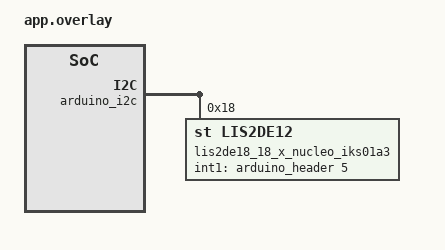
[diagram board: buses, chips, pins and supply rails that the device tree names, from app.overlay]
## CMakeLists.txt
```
# Copyright (c) 2019 STMicroelectronics
#
# SPDX-License-Identifier: Apache-2.0
#
cmake_minimum_required(VERSION 3.28.0)

# This sample is specific to x_nucleo_iks01a3 shield. Enforce -DSHIELD option
set(SHIELD x_nucleo_iks01a3)

find_package(Zephyr REQUIRED HINTS $ENV{ZEPHYR_BASE})
project(x_nucleo_iks01a3)

FILE(GLOB app_sources src/*.c)
target_sources(app PRIVATE ${app_sources})
```

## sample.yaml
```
sample:
  name: X-NUCLEO-IKS01A3 sensor shield
common:
  min_ram: 16
tests:
  sample.shields.x_nucleo_iks01a3.standard:
    harness: shield
    tags: shield
    depends_on:
      - arduino_i2c
      - arduino_gpio
    platform_exclude:
      - disco_l475_iot1
      - lpcxpresso55s16
      - pan1781_evb
      - pan1782_evb
      - mimxrt1010_evk
```

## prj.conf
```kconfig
# SPDX-FileCopyrightText: Copyright The Zephyr Project Contributors
# SPDX-License-Identifier: Apache-2.0

CONFIG_LOG=y
CONFIG_STDOUT_CONSOLE=y
CONFIG_I2C=y
CONFIG_SENSOR=y
CONFIG_HTS221_TRIGGER_NONE=y
CONFIG_LPS22HH_TRIGGER_OWN_THREAD=y
CONFIG_STTS751_TRIGGER_NONE=y
CONFIG_LIS2MDL_TRIGGER_NONE=y
CONFIG_LIS2DW12_TRIGGER_OWN_THREAD=y
CONFIG_LSM6DSO_ENABLE_TEMP=n
CONFIG_LSM6DSO_TRIGGER_OWN_THREAD=y
CONFIG_CBPRINTF_FP_SUPPORT=y

# DIL24 section
CONFIG_LIS2DE12_ENABLE_TEMP=y
CONFIG_LIS2DE12_TRIGGER_NONE=y
```

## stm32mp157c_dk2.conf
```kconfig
CONFIG_LOG=y
CONFIG_STDOUT_CONSOLE=y
CONFIG_I2C=y
CONFIG_SENSOR=y
CONFIG_SENSOR_LOG_LEVEL_DBG=y
CONFIG_HTS221_TRIGGER_NONE=y
CONFIG_LPS22HH_TRIGGER_NONE=y
CONFIG_STTS751_TRIGGER_NONE=y
CONFIG_LIS2MDL_TRIGGER_NONE=y
CONFIG_LIS2DW12_TRIGGER_NONE=y
CONFIG_LSM6DSO_ENABLE_TEMP=n
CONFIG_LSM6DSO_TRIGGER_NONE=y
CONFIG_CBPRINTF_FP_SUPPORT=y
```

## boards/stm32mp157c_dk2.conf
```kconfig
# Copyright (c) 2019 STMicroelectronics
#
# SPDX-License-Identifier: Apache-2.0

CONFIG_LPS22HH_TRIGGER_OWN_THREAD=n
CONFIG_LPS22HH_TRIGGER_NONE=y
CONFIG_LIS2DW12_TRIGGER_OWN_THREAD=n
CONFIG_LIS2DW12_TRIGGER_NONE=y
CONFIG_LSM6DSO_TRIGGER_OWN_THREAD=n
CONFIG_LSM6DSO_TRIGGER_NONE=y

# DIL24 section
CONFIG_LIS2DE12_ENABLE_TEMP=n
```

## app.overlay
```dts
/*
 * Copyright (c) 2024 STMicroelectronics
 *
 * SPDX-License-Identifier: Apache-2.0
 */

/*
 * Sensors declared here are possibly present on DIL24
 */
&arduino_i2c {
	status = "okay";

	lis2de18_18_x_nucleo_iks01a3: lis2de12@18 {
		compatible = "st,lis2de12";
		reg = <0x18>;
		int1-gpios = <&arduino_header 5 GPIO_ACTIVE_HIGH>; /* A5 */
	};
};
```

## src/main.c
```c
/*
 * Copyright (c) 2019 STMicroelectronics
 *
 * SPDX-License-Identifier: Apache-2.0
 */

#include <zephyr/kernel.h>
#include <zephyr/device.h>
#include <zephyr/drivers/sensor.h>
#include <stdio.h>
#include <zephyr/sys/util.h>

#ifdef CONFIG_LIS2MDL_TRIGGER
static int lis2mdl_trig_cnt;

static void lis2mdl_trigger_handler(const struct device *dev,
				    const struct sensor_trigger *trig)
{
	sensor_sample_fetch_chan(dev, SENSOR_CHAN_ALL);
	lis2mdl_trig_cnt++;
}
#endif

#ifdef CONFIG_LPS22HH_TRIGGER
static int lps22hh_trig_cnt;

static void lps22hh_trigger_handler(const struct device *dev,
				    const struct sensor_trigger *trig)
{
	sensor_sample_fetch_chan(dev, SENSOR_CHAN_PRESS);
	lps22hh_trig_cnt++;
}
#endif

#ifdef CONFIG_STTS751_TRIGGER
static int stts751_trig_cnt;

static void stts751_trigger_handler(const struct device *dev,
				    const struct sensor_trigger *trig)
{
	stts751_trig_cnt++;
}
#endif

#ifdef CONFIG_LIS2DW12_TRIGGER
static int lis2dw12_trig_cnt;

static void lis2dw12_trigger_handler(const struct device *dev,
				     const struct sensor_trigger *trig)
{
	sensor_sample_fetch_chan(dev, SENSOR_CHAN_ACCEL_XYZ);
	lis2dw12_trig_cnt++;
}
#endif

#ifdef CONFIG_LSM6DSO_TRIGGER
static int lsm6dso_acc_trig_cnt;
static int lsm6dso_gyr_trig_cnt;
static int lsm6dso_temp_trig_cnt;

static void lsm6dso_acc_trig_handler(const struct device *dev,
				     const struct sensor_trigger *trig)
{
	sensor_sample_fetch_chan(dev, SENSOR_CHAN_ACCEL_XYZ);
	lsm6dso_acc_trig_cnt++;
}

static void lsm6dso_gyr_trig_handler(const struct device *dev,
				     const struct sensor_trigger *trig)
{
	sensor_sample_fetch_chan(dev, SENSOR_CHAN_GYRO_XYZ);
	lsm6dso_gyr_trig_cnt++;
}

static void lsm6dso_temp_trig_handler(const struct device *dev,
				      const struct sensor_trigger *trig)
{
	sensor_sample_fetch_chan(dev, SENSOR_CHAN_DIE_TEMP);
	lsm6dso_temp_trig_cnt++;
}
#endif

#ifdef CONFIG_LIS2DE12_TRIGGER
static int lis2de12_trig_cnt;

static void lis2de12_trigger_handler(const struct device *dev,
				    const struct sensor_trigger *trig)
{
	sensor_sample_fetch_chan(dev, SENSOR_CHAN_ALL);
	lis2de12_trig_cnt++;
}
#endif

static void lis2mdl_config(const struct device *lis2mdl)
{
	struct sensor_value odr_attr;

	/* set LIS2MDL sampling frequency to 100 Hz */
	odr_attr.val1 = 100;
	odr_attr.val2 = 0;

	if (sensor_attr_set(lis2mdl, SENSOR_CHAN_ALL,
			    SENSOR_ATTR_SAMPLING_FREQUENCY, &odr_attr) < 0) {
		printk("Cannot set sampling frequency for LIS2MDL\n");
		return;
	}

#ifdef CONFIG_LIS2MDL_TRIGGER
	struct sensor_trigger trig;

	trig.type = SENSOR_TRIG_DATA_READY;
	trig.chan = SENSOR_CHAN_MAGN_XYZ;
	sensor_trigger_set(lis2mdl, &trig, lis2mdl_trigger_handler);
#endif
}

static void lps22hh_config(const struct device *lps22hh)
{
	struct sensor_value odr_attr;

	/* set LPS22HH sampling frequency to 100 Hz */
	odr_attr.val1 = 100;
	odr_attr.val2 = 0;

	if (sensor_attr_set(lps22hh, SENSOR_CHAN_ALL,
			    SENSOR_ATTR_SAMPLING_FREQUENCY, &odr_attr) < 0) {
		printk("Cannot set sampling frequency for LPS22HH\n");
		return;
	}

#ifdef CONFIG_LPS22HH_TRIGGER
	struct sensor_trigger trig;

	trig.type = SENSOR_TRIG_DATA_READY;
	trig.chan = SENSOR_CHAN_ALL;
	sensor_trigger_set(lps22hh, &trig, lps22hh_trigger_handler);
#endif
}

static void stts751_config(const struct device *stts751)
{
	struct sensor_value odr_attr;

	/* set STTS751 conversion rate to 16 Hz */
	odr_attr.val1 = 16;
	odr_attr.val2 = 0;

	if (sensor_attr_set(stts751, SENSOR_CHAN_ALL,
			    SENSOR_ATTR_SAMPLING_FREQUENCY, &odr_attr) < 0) {
		printk("Cannot set sampling frequency for STTS751\n");
		return;
	}

#ifdef CONFIG_STTS751_TRIGGER
	struct sensor_trigger trig;

	trig.type = SENSOR_TRIG_THRESHOLD;
	trig.chan = SENSOR_CHAN_ALL;
	sensor_trigger_set(stts751, &trig, stts751_trigger_handler);
#endif
}

static void lis2dw12_config(const struct device *lis2dw12)
{
	struct sensor_value odr_attr, fs_attr;

	/* set LIS2DW12 accel/gyro sampling frequency to 100 Hz */
	odr_attr.val1 = 100;
	odr_attr.val2 = 0;

	if (sensor_attr_set(lis2dw12, SENSOR_CHAN_ACCEL_XYZ,
			    SENSOR_ATTR_SAMPLING_FREQUENCY, &odr_attr) < 0) {
		printk("Cannot set sampling frequency for LIS2DW12 accel\n");
		return;
	}

	sensor_g_to_ms2(16, &fs_attr);

	if (sensor_attr_set(lis2dw12, SENSOR_CHAN_ACCEL_XYZ,
			    SENSOR_ATTR_FULL_SCALE, &fs_attr) < 0) {
		printk("Cannot set sampling frequency for LIS2DW12 gyro\n");
		return;
	}

#ifdef CONFIG_LIS2DW12_TRIGGER
	struct sensor_trigger trig;

	trig.type = SENSOR_TRIG_DATA_READY;
	trig.chan = SENSOR_CHAN_ACCEL_XYZ;
	sensor_trigger_set(lis2dw12, &trig, lis2dw12_trigger_handler);
#endif
}

static void lsm6dso_config(const struct device *lsm6dso)
{
	struct sensor_value odr_attr, fs_attr;

	/* set LSM6DSO accel sampling frequency to 208 Hz */
	odr_attr.val1 = 208;
	odr_attr.val2 = 0;

	if (sensor_attr_set(lsm6dso, SENSOR_CHAN_ACCEL_XYZ,
			    SENSOR_ATTR_SAMPLING_FREQUENCY, &odr_attr) < 0) {
		printk("Cannot set sampling frequency for LSM6DSO accel\n");
		return;
	}

	sensor_g_to_ms2(16, &fs_attr);

	if (sensor_attr_set(lsm6dso, SENSOR_CHAN_ACCEL_XYZ,
			    SENSOR_ATTR_FULL_SCALE, &fs_attr) < 0) {
		printk("Cannot set fs for LSM6DSO accel\n");
		return;
	}

	/* set LSM6DSO gyro sampling frequency to 208 Hz */
	odr_attr.val1 = 208;
	odr_attr.val2 = 0;

	if (sensor_attr_set(lsm6dso, SENSOR_CHAN_GYRO_XYZ,
			    SENSOR_ATTR_SAMPLING_FREQUENCY, &odr_attr) < 0) {
		printk("Cannot set sampling frequency for LSM6DSO gyro\n");
		return;
	}

	sensor_degrees_to_rad(250, &fs_attr);

	if (sensor_attr_set(lsm6dso, SENSOR_CHAN_GYRO_XYZ,
			    SENSOR_ATTR_FULL_SCALE, &fs_attr) < 0) {
		printk("Cannot set fs for LSM6DSO gyro\n");
		return;
	}

#ifdef CONFIG_LSM6DSO_TRIGGER
	struct sensor_trigger trig;

	trig.type = SENSOR_TRIG_DATA_READY;
	trig.chan = SENSOR_CHAN_ACCEL_XYZ;
	sensor_trigger_set(lsm6dso, &trig, lsm6dso_acc_trig_handler);

	trig.type = SENSOR_TRIG_DATA_READY;
	trig.chan = SENSOR_CHAN_GYRO_XYZ;
	sensor_trigger_set(lsm6dso, &trig, lsm6dso_gyr_trig_handler);

	trig.type = SENSOR_TRIG_DATA_READY;
	trig.chan = SENSOR_CHAN_DIE_TEMP;
	sensor_trigger_set(lsm6dso, &trig, lsm6dso_temp_trig_handler);
#endif
}

static void lis2de12_config(const struct device *lis2de12)
{
	struct sensor_value odr_attr, fs_attr;

	/* set LIS2DE12 accel/gyro sampling frequency to 100 Hz */
	odr_attr.val1 = 200;
	odr_attr.val2 = 0;

	if (sensor_attr_set(lis2de12, SENSOR_CHAN_ACCEL_XYZ,
			    SENSOR_ATTR_SAMPLING_FREQUENCY, &odr_attr) < 0) {
		printk("Cannot set sampling frequency for LIS2DE12 accel\n");
		return;
	}

	sensor_g_to_ms2(2, &fs_attr);

	if (sensor_attr_set(lis2de12, SENSOR_CHAN_ACCEL_XYZ,
			    SENSOR_ATTR_FULL_SCALE, &fs_attr) < 0) {
		printk("Cannot set sampling frequency for LIS2DE12 gyro\n");
		return;
	}

#ifdef CONFIG_LIS2DE12_TRIGGER
	struct sensor_trigger trig;

	trig.type = SENSOR_TRIG_DATA_READY;
	trig.chan = SENSOR_CHAN_ACCEL_XYZ;
	sensor_trigger_set(lis2de12, &trig, lis2de12_trigger_handler);
#endif
}

int main(void)
{
	struct sensor_value temp1, temp2, temp3, hum, press;
#ifdef CONFIG_LSM6DSO_ENABLE_TEMP
	struct sensor_value die_temp;
#endif
	struct sensor_value die_temp2;
	struct sensor_value accel1[3], accel2[3];
	struct sensor_value gyro[3];
	struct sensor_value magn[3];
	struct sensor_value lis2de12_xl[3];
#ifdef CONFIG_LIS2DE12_ENABLE_TEMP
	struct sensor_value lis2de12_die_temp;
#endif
	const struct device *const hts221 = DEVICE_DT_GET_ONE(st_hts221);
	const struct device *const lps22hh = DEVICE_DT_GET_ONE(st_lps22hh);
	const struct device *const stts751 = DEVICE_DT_GET_ONE(st_stts751);
	const struct device *const lis2mdl = DEVICE_DT_GET_ONE(st_lis2mdl);
	const struct device *const lis2dw12 = DEVICE_DT_GET_ONE(st_lis2dw12);
	const struct device *const lsm6dso = DEVICE_DT_GET_ONE(st_lsm6dso);

	/* on DIL24 */
	const struct device *const lis2de12 = DEVICE_DT_GET_ANY(st_lis2de12);
	int cnt = 1;
	int lis2de12_on_dil24 = 0;

	if (!device_is_ready(hts221)) {
		printk("%s: device not ready.\n", hts221->name);
		return 0;
	}
	if (!device_is_ready(lps22hh)) {
		printk("%s: device not ready.\n", lps22hh->name);
		return 0;
	}
	if (!device_is_ready(stts751)) {
		printk("%s: device not ready.\n", stts751->name);
		return 0;
	}
	if (!device_is_ready(lis2mdl)) {
		printk("%s: device not ready.\n", lis2mdl->name);
		return 0;
	}
	if (!device_is_ready(lis2dw12)) {
		printk("%s: device not ready.\n", lis2dw12->name);
		return 0;
	}
	if (!device_is_ready(lsm6dso)) {
		printk("%s: device not ready.\n", lsm6dso->name);
		return 0;
	}
	if (device_is_ready(lis2de12)) {
		lis2de12_on_dil24 = 1;
	} else {
		printf("Device %s is not ready\n", lis2de12->name);
		/* no device on DIL24, skip it */
	}

	lis2mdl_config(lis2mdl);
	lps22hh_config(lps22hh);
	stts751_config(stts751);
	lis2dw12_config(lis2dw12);
	lsm6dso_config(lsm6dso);
	if (lis2de12_on_dil24) {
		lis2de12_config(lis2de12);
	}

	while (1) {
		/* Get sensor samples */

		if (sensor_sample_fetch(hts221) < 0) {
			printf("HTS221 Sensor sample update error\n");
			return 0;
		}
#ifndef CONFIG_LPS22HH_TRIGGER
		if (sensor_sample_fetch(lps22hh) < 0) {
			printf("LPS22HH Sensor sample update error\n");
			return 0;
		}
#endif
		if (sensor_sample_fetch(stts751) < 0) {
			printf("STTS751 Sensor sample update error\n");
			return 0;
		}

#ifndef CONFIG_LIS2MDL_TRIGGER
		if (sensor_sample_fetch(lis2mdl) < 0) {
			printf("LIS2MDL Magn Sensor sample update error\n");
			return 0;
		}
#endif

#ifndef CONFIG_LIS2DW12_TRIGGER
		if (sensor_sample_fetch(lis2dw12) < 0) {
			printf("LIS2DW12 Sensor sample update error\n");
			return 0;
		}
#endif
#ifndef CONFIG_LSM6DSO_TRIGGER
		if (sensor_sample_fetch(lsm6dso) < 0) {
			printf("LSM6DSO Sensor sample update error\n");
			return 0;
		}
#endif
#ifndef CONFIG_LIS2DE12_TRIGGER
		if (lis2de12_on_dil24) {
			if (sensor_sample_fetch(lis2de12) < 0) {
				printf("LIS2DE12 Sensor sample update error\n");
				return 0;
			}
		}
#endif

		/* Get sensor data */

		sensor_channel_get(hts221, SENSOR_CHAN_AMBIENT_TEMP, &temp1);
		sensor_channel_get(hts221, SENSOR_CHAN_HUMIDITY, &hum);
		sensor_channel_get(lps22hh, SENSOR_CHAN_AMBIENT_TEMP, &temp2);
		sensor_channel_get(lps22hh, SENSOR_CHAN_PRESS, &press);
		sensor_channel_get(stts751, SENSOR_CHAN_AMBIENT_TEMP, &temp3);
		sensor_channel_get(lis2mdl, SENSOR_CHAN_MAGN_XYZ, magn);
		sensor_channel_get(lis2mdl, SENSOR_CHAN_DIE_TEMP, &die_temp2);
		sensor_channel_get(lis2dw12, SENSOR_CHAN_ACCEL_XYZ, accel2);
		sensor_channel_get(lsm6dso, SENSOR_CHAN_ACCEL_XYZ, accel1);
		sensor_channel_get(lsm6dso, SENSOR_CHAN_GYRO_XYZ, gyro);
#ifdef CONFIG_LSM6DSO_ENABLE_TEMP
		sensor_channel_get(lsm6dso, SENSOR_CHAN_DIE_TEMP, &die_temp);
#endif
		if (lis2de12_on_dil24) {
			sensor_channel_get(lis2de12, SENSOR_CHAN_ACCEL_XYZ, lis2de12_xl);
#ifdef CONFIG_LIS2DE12_ENABLE_TEMP
			sensor_channel_get(lis2de12, SENSOR_CHAN_DIE_TEMP, &lis2de12_die_temp);
#endif
		}

		/* Display sensor data */

		/* Erase previous */
		printf("\0033\014");

		printf("X-NUCLEO-IKS01A3 sensor dashboard\n\n");

		/* temperature */
		printf("HTS221: Temperature: %.1f C\n",
		       sensor_value_to_double(&temp1));

		/* humidity */
		printf("HTS221: Relative Humidity: %.1f%%\n",
		       sensor_value_to_double(&hum));

		/* temperature */
		printf("LPS22HH: Temperature: %.1f C\n",
		       sensor_value_to_double(&temp2));

		/* pressure */
		printf("LPS22HH: Pressure:%.3f kPa\n",
		       sensor_value_to_double(&press));

		/* temperature */
		printf("STTS751: Temperature: %.1f C\n",
		       sensor_value_to_double(&temp3));

		/* lis2mdl */
		printf("LIS2MDL: Magn (G): x: %.3f, y: %.3f, z: %.3f\n",
		       sensor_value_to_double(&magn[0]),
		       sensor_value_to_double(&magn[1]),
		       sensor_value_to_double(&magn[2]));

		printf("LIS2MDL: Temperature: %.1f C\n",
		       sensor_value_to_double(&die_temp2));

		printf("LIS2DW12: Accel (m/s^2): x: %.3f, y: %.3f, z: %.3f\n",
			sensor_value_to_double(&accel2[0]),
			sensor_value_to_double(&accel2[1]),
			sensor_value_to_double(&accel2[2]));

		printf("LSM6DSO: Accel (m/s^2): x: %.3f, y: %.3f, z: %.3f\n",
			sensor_value_to_double(&accel1[0]),
			sensor_value_to_double(&accel1[1]),
			sensor_value_to_double(&accel1[2]));

		printf("LSM6DSO: Gyro (rad/s): x: %.3f, y: %.3f, z: %.3f\n",
			sensor_value_to_double(&gyro[0]),
			sensor_value_to_double(&gyro[1]),
			sensor_value_to_double(&gyro[2]));

#ifdef CONFIG_LSM6DSO_ENABLE_TEMP
		/* temperature */
		printf("LSM6DSO: Temperature: %.1f C\n",
		       sensor_value_to_double(&die_temp));
#endif
		if (lis2de12_on_dil24) {
			printf("LIS2DE12: Accel (m/s^2): x: %.3f, y: %.3f, z: %.3f\n",
				sensor_value_to_double(&lis2de12_xl[0]),
				sensor_value_to_double(&lis2de12_xl[1]),
				sensor_value_to_double(&lis2de12_xl[2]));

#ifdef CONFIG_LIS2DE12_ENABLE_TEMP
			/* temperature */
			printf("LIS2DE12: Temperature: %.1f C\n",
			    sensor_value_to_double(&lis2de12_die_temp));
#endif
		}

#if defined(CONFIG_LIS2MDL_TRIGGER)
		printk("%d:: lis2mdl trig %d\n", cnt, lis2mdl_trig_cnt);
#endif

#if defined(CONFIG_LPS22HH_TRIGGER)
		printk("%d:: lps22hh trig %d\n", cnt, lps22hh_trig_cnt);
#endif

#if defined(CONFIG_STTS751_TRIGGER)
		printk("%d:: stts751 trig %d\n", cnt, stts751_trig_cnt);
#endif

#ifdef CONFIG_LIS2DW12_TRIGGER
		printk("%d:: lis2dw12 trig %d\n", cnt, lis2dw12_trig_cnt);
#endif

#ifdef CONFIG_LSM6DSO_TRIGGER
		printk("%d:: lsm6dso acc trig %d\n", cnt, lsm6dso_acc_trig_cnt);
		printk("%d:: lsm6dso gyr trig %d\n", cnt, lsm6dso_gyr_trig_cnt);
		printk("%d:: lsm6dso temp trig %d\n", cnt,
			lsm6dso_temp_trig_cnt);
#endif
#ifdef CONFIG_LIS2DE12_TRIGGER
		printk("%d:: lis2de12 acc trig %d\n", cnt, lis2de12_trig_cnt);
#endif

		cnt++;
		k_sleep(K_MSEC(2000));
	}
}
```
